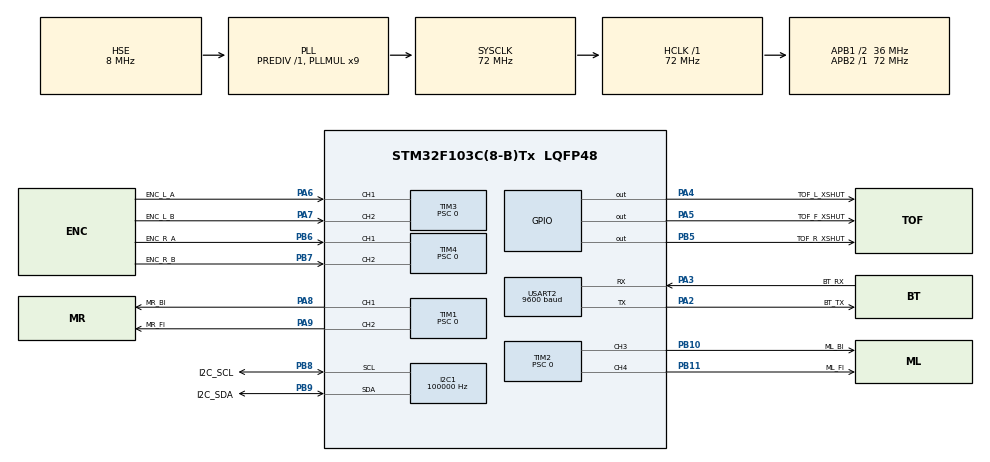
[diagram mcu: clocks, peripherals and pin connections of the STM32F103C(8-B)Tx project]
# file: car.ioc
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I2C1.ClockSpeed=100000
Mcu.Family=STM32F1
Mcu.Name=STM32F103C(8-B)Tx
Mcu.Package=LQFP48
NVIC.PriorityGroup=NVIC_PRIORITYGROUP_4
NVIC.TIM1_UP_IRQn=true\:1\:0\:false\:false\:true\:true\:true\:true
NVIC.USART2_IRQn=true\:2\:0\:false\:false\:true\:true\:true\:true
PA13.Mode=Serial_Wire
PA13.Signal=SYS_JTMS-SWDIO
PA14.Mode=Serial_Wire
PA14.Signal=SYS_JTCK-SWCLK
PA2.GPIO_Label=BT_TX
PA2.Mode=Asynchronous
PA2.Signal=USART2_TX
PA3.GPIO_Label=BT_RX
PA3.Mode=Asynchronous
PA3.Signal=USART2_RX
PA4.GPIO_Label=TOF_L_XSHUT
PA4.GPIO_ModeDefaultOutputPP=GPIO_MODE_OUTPUT_OD
PA4.GPIO_PuPd=GPIO_NOPULL
PA4.GPIO_Speed=GPIO_SPEED_FREQ_LOW
PA4.PinState=GPIO_PIN_RESET
PA4.Signal=GPIO_Output
PA5.GPIO_Label=TOF_F_XSHUT
PA5.GPIO_ModeDefaultOutputPP=GPIO_MODE_OUTPUT_OD
PA5.GPIO_PuPd=GPIO_NOPULL
PA5.GPIO_Speed=GPIO_SPEED_FREQ_LOW
PA5.PinState=GPIO_PIN_RESET
PA5.Signal=GPIO_Output
PA6.GPIO_Label=ENC_L_A
PA6.GPIO_PuPd=GPIO_PULLUP
PA6.Signal=S_TIM3_CH1
PA7.GPIO_Label=ENC_L_B
PA7.GPIO_PuPd=GPIO_PULLUP
PA7.Signal=S_TIM3_CH2
PA8.GPIO_Label=MR_BI
PA8.GPIO_Speed=GPIO_SPEED_FREQ_LOW
PA8.Signal=S_TIM1_CH1
PA9.GPIO_Label=MR_FI
PA9.GPIO_Speed=GPIO_SPEED_FREQ_LOW
PA9.Signal=S_TIM1_CH2
PB10.GPIO_Label=ML_BI
PB10.GPIO_Speed=GPIO_SPEED_FREQ_LOW
PB10.Signal=S_TIM2_CH3
PB11.GPIO_Label=ML_FI
PB11.GPIO_Speed=GPIO_SPEED_FREQ_LOW
PB11.Signal=S_TIM2_CH4
PB5.GPIO_Label=TOF_R_XSHUT
PB5.GPIO_ModeDefaultOutputPP=GPIO_MODE_OUTPUT_OD
PB5.GPIO_PuPd=GPIO_NOPULL
PB5.GPIO_Speed=GPIO_SPEED_FREQ_LOW
PB5.PinState=GPIO_PIN_RESET
PB5.Signal=GPIO_Output
PB6.GPIO_Label=ENC_R_A
PB6.GPIO_PuPd=GPIO_PULLUP
PB6.Signal=S_TIM4_CH1
PB7.GPIO_Label=ENC_R_B
PB7.GPIO_PuPd=GPIO_PULLUP
PB7.Signal=S_TIM4_CH2
PB8.GPIO_Label=I2C_SCL
PB8.Mode=I2C
PB8.Signal=I2C1_SCL
PB9.GPIO_Label=I2C_SDA
PB9.Mode=I2C
PB9.Signal=I2C1_SDA
PD0-OSC_IN.Mode=HSE-External-Oscillator
PD0-OSC_IN.Signal=RCC_OSC_IN
PD1-OSC_OUT.Mode=HSE-External-Oscillator
PD1-OSC_OUT.Signal=RCC_OSC_OUT
ProjectManager.HeapSize=0x200
ProjectManager.StackSize=0x400
ProjectManager.TargetToolchain=MDK-ARM V5.32
RCC.AHBFreq_Value=72000000
RCC.APB1CLKDivider=RCC_HCLK_DIV2
RCC.APB1Freq_Value=36000000
RCC.APB1TimFreq_Value=72000000
RCC.APB2Freq_Value=72000000
RCC.APB2TimFreq_Value=72000000
RCC.HCLKFreq_Value=72000000
RCC.PLLMUL=RCC_PLL_MUL9
RCC.PLLSourceVirtual=RCC_PLLSOURCE_HSE
RCC.SYSCLKFreq_VALUE=72000000
RCC.SYSCLKSource=RCC_SYSCLKSOURCE_PLLCLK
RCC.USBFreq_Value=72000000
SH.S_TIM1_CH1.0=TIM1_CH1,PWM Generation1 CH1
SH.S_TIM1_CH2.0=TIM1_CH2,PWM Generation2 CH2
SH.S_TIM2_CH3.0=TIM2_CH3,PWM Generation3 CH3
SH.S_TIM2_CH4.0=TIM2_CH4,PWM Generation4 CH4
SH.S_TIM3_CH1.0=TIM3_CH1,Encoder_Interface
SH.S_TIM3_CH2.0=TIM3_CH2,Encoder_Interface
SH.S_TIM4_CH1.0=TIM4_CH1,Encoder_Interface
SH.S_TIM4_CH2.0=TIM4_CH2,Encoder_Interface
TIM1.AutoReloadPreload=TIM_AUTORELOAD_PRELOAD_ENABLE
TIM1.Channel-PWM\ Generation1\ CH1=TIM_CHANNEL_1
TIM1.Channel-PWM\ Generation2\ CH2=TIM_CHANNEL_2
TIM1.Period=3599
TIM1.Prescaler=0
TIM1.Pulse-PWM\ Generation1\ CH1=0
TIM1.Pulse-PWM\ Generation2\ CH2=0
TIM1.RepetitionCounter=19
TIM2.AutoReloadPreload=TIM_AUTORELOAD_PRELOAD_ENABLE
TIM2.Channel-PWM\ Generation3\ CH3=TIM_CHANNEL_3
TIM2.Channel-PWM\ Generation4\ CH4=TIM_CHANNEL_4
TIM2.Period=3599
TIM2.Prescaler=0
TIM2.Pulse-PWM\ Generation3\ CH3=0
TIM2.Pulse-PWM\ Generation4\ CH4=0
TIM3.EncoderMode=TIM_ENCODERMODE_TI12
TIM3.IC1Filter=4
TIM3.IC2Filter=4
TIM3.Period=65535
TIM3.Prescaler=0
TIM4.EncoderMode=TIM_ENCODERMODE_TI12
TIM4.IC1Filter=4
TIM4.IC2Filter=4
TIM4.Period=65535
TIM4.Prescaler=0
USART2.BaudRate=9600
USART2.VirtualMode=VM_ASYNC
VP_TIM1_VS_ClockSourceINT.Mode=Internal
VP_TIM2_VS_ClockSourceINT.Mode=Internal
board=custom

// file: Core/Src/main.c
#include "main.h"
#include "i2c.h"
#include "tim.h"
#include "usart.h"
#include "gpio.h"

/* USER CODE BEGIN Includes */
#include "mpu6050.h"
#include "heading.h"
#include "motor.h"
#include "encoder.h"
#include "tof.h"
#include "speed_control.h"
#include "turn_control.h"
#include "maze.h"
#include "hc05.h"
#include "bluetooth_tune.h"
#include <stdio.h>
/* USER CODE END Includes */

/* USER CODE BEGIN PD */
/* 蓝牙调参模式优先，禁止旧的自动试转流程与电脑命令同时控制电机。 */
#ifndef BLUETOOTH_TUNE_ENABLE
#define BLUETOOTH_TUNE_ENABLE 1
#endif
/* 架空并确认编码器方向后才可开启试转；默认上电只采集，不驱动车轮。 */
#ifndef MOTOR_DEBUG_SPEED_ENABLE
#define MOTOR_DEBUG_SPEED_ENABLE 0
#endif
#define MOTOR_DEBUG_SPEED_COUNTS_PER_S 500.0f
#define MOTOR_DEBUG_SPEED_DURATION_MS 4000U
/* 200 ms 一帧，避免 9600 波特率下调试信息占满发送缓冲。
   当前仅观察航向积分，速度/MPU 诊断/轮程累计帧默认关闭，需要时再打开。 */
#ifndef SPEED_DEBUG_TELEMETRY_ENABLE
#define SPEED_DEBUG_TELEMETRY_ENABLE 0
#endif
#define SPEED_DEBUG_TELEMETRY_PERIOD_MS 200U
/* 航向积分调试帧：输出 z 轴航偏角，手持旋转或试车时观察积分与漂移。 */
#ifndef HEADING_DEBUG_TELEMETRY_ENABLE
#define HEADING_DEBUG_TELEMETRY_ENABLE 1
#endif
#define HEADING_DEBUG_TELEMETRY_PERIOD_MS 200U
/* MPU 上电诊断帧：暴露初始化/校准/读取结果和地址探测，定位 head 全零的原因。 */
#ifndef MPU_DEBUG_TELEMETRY_ENABLE
#define MPU_DEBUG_TELEMETRY_ENABLE 1
#endif
#define MPU_DEBUG_TELEMETRY_PERIOD_MS 1000U
/* 轮程累计帧开关与航向帧独立；蓝牙调参模式下默认不发送。 */
#ifndef ENCODER_TELEMETRY_ENABLE
#define ENCODER_TELEMETRY_ENABLE 0
#endif
/* 转向状态诊断帧：调试期观察转向状态机与目标收敛过程。 */
#ifndef TURN_DEBUG_TELEMETRY_ENABLE
#define TURN_DEBUG_TELEMETRY_ENABLE 1
#endif
#define TURN_DEBUG_TELEMETRY_PERIOD_MS 1000U
/* 迷宫探索诊断帧：状态机、三路距离与决策，实跑时观察感知与节奏。 */
#ifndef MAZE_DEBUG_TELEMETRY_ENABLE
#define MAZE_DEBUG_TELEMETRY_ENABLE 1
#endif
#define MAZE_DEBUG_TELEMETRY_PERIOD_MS 1000U
/* 三路测距实时帧：补偿值与原始值并列，用于偏移标定与读数核对。 */
#ifndef TOF_DEBUG_TELEMETRY_ENABLE
#define TOF_DEBUG_TELEMETRY_ENABLE 1
#endif
#define TOF_DEBUG_TELEMETRY_PERIOD_MS 1000U
/* USER CODE END PD */

/* USER CODE BEGIN PV */
volatile uint32_t timer_1ms_ticks = 0;
MPU6050_Gyro car_gyro = {0.0f, 0.0f, 0.0f};
HAL_StatusTypeDef mpu6050_status = HAL_ERROR;
/* 分别保存各阶段结果，避免统一的无效消息掩盖实际失败位置。 */
HAL_StatusTypeDef mpu6050_init_status = HAL_ERROR;
HAL_StatusTypeDef mpu6050_cal_status = HAL_ERROR;
HAL_StatusTypeDef mpu6050_read_status = HAL_ERROR;
uint32_t gyro_last_update_tick = 0;
uint8_t gyro_valid = 0;
/* 保存双轮增量、累计计数和计数率，供控制逻辑及调试器读取。 */
Encoder_Data car_encoder;
HAL_StatusTypeDef encoder_status = HAL_ERROR;
/* 保存三路测距快照和逐路状态；car_tof 保留前方兼容快照。 */
TOF_Data car_tof;
HAL_StatusTypeDef tof_status = HAL_ERROR;
TOF_Data car_tof_sensors[TOF_SENSOR_COUNT];
HAL_StatusTypeDef tof_sensor_status[TOF_SENSOR_COUNT];
/* 已按保存的轮端标定完成落地 50/75/100 mm/s 短试转，100 mm/s 复测两次。
   速度反馈仅 10 ms 计数率、遥测仅 5 Hz，不将本组视为最终最优参数。
   2026-10-27：占空比上限 700 提高到 850——7.4 V 电池下原地转向
   摩擦扭矩大，70% 输出带不动单轮（架空正常、落地不转），85% 实测
   左右 90 度转向恢复到位（误差约 2 度）。 */
static const SpeedControl_Config speed_config = {
  {0.8f, 1.5f, 0.0f}, {0.6f, 1.5f, 0.0f}, 2100.0f, 850
};
SpeedControl_Data car_speed;
HAL_StatusTypeDef speed_control_status = HAL_ERROR;
/* 陀螺仪闭环转向状态快照，供调试器与后续遥测观察。 */
TurnControl_Data car_turn;
HAL_StatusTypeDef turn_control_status = HAL_ERROR;
/* 左手法则迷宫探索状态快照。 */
Maze_Data car_maze;
HAL_StatusTypeDef maze_status = HAL_ERROR;
/* USER CODE END PV */

void SystemClock_Config(void);

/* USER CODE BEGIN 0 */
/* 可选一次性试转：获得有效反馈后启动，定时结束或故障后不自动重试。 */
static void Speed_DebugProcess(void)
{
#if MOTOR_DEBUG_SPEED_ENABLE && !BLUETOOTH_TUNE_ENABLE
  static uint8_t phase = 0U;
  static uint32_t started = 0U;
  HAL_StatusTypeDef status;
  if (phase == 0U)
  {
    status = SpeedControl_Enable();
    if (status == HAL_OK)
    {
      started = HAL_GetTick();
      status = SpeedControl_SetTarget(MOTOR_DEBUG_SPEED_COUNTS_PER_S,
                                     MOTOR_DEBUG_SPEED_COUNTS_PER_S);
      phase = (status == HAL_OK) ? 1U : 2U;
    }
    else if (status != HAL_BUSY)
    {
      phase = 2U;
    }
  }
  else if (phase == 1U)
  {
    (void)SpeedControl_GetData(&car_speed);
    if (car_speed.state == SPEED_CONTROL_FAULT)
    {
      /* 保留故障锁存供调试，不在此处清除或自动恢复。 */
      phase = 2U;
    }
    else if ((uint32_t)(HAL_GetTick() - started) >= MOTOR_DEBUG_SPEED_DURATION_MS)
    {
      SpeedControl_Stop();
      phase = 2U;
    }
  }
#endif
}

/* 发送整数 FireWater 帧；目标/实测取整为 counts/s，占空比单位千分比。
   只监测不驱动时也发布编码器实测，便于手转确认两轮方向。 */
static void Speed_DebugTelemetry(void)
{
#if SPEED_DEBUG_TELEMETRY_ENABLE
  static uint32_t last_tick = 0U;
  uint32_t now = HAL_GetTick();
  char frame[HC05_TX_BUFFER_SIZE];
  int length;
  if ((uint32_t)(now - last_tick) < SPEED_DEBUG_TELEMETRY_PERIOD_MS ||
      !BluetoothTune_CanSendTelemetry()) { return; }
  last_tick = now;
  length = snprintf(frame, sizeof(frame), "speed:%d,%d,%ld,%ld,%ld,%ld,%d,%d\n",
                    (int)car_speed.state, (int)car_speed.fault,
                    (long)car_speed.left_target, (long)car_speed.right_target,
                    (long)car_encoder.left_counts_per_s,
                    (long)car_encoder.right_counts_per_s,
                    (int)car_speed.left_duty, (int)car_speed.right_duty);
  /* 串口忙时丢弃该帧，不等待发送完成，不影响控制周期。 */
  if (length > 0 && (unsigned int)length < sizeof(frame))
  {
    (void)HC05_SendString(frame);
  }
#endif
}

/* 浮点值按两位小数格式化为十进制文本，返回写入字符数。
   串口帧不使用固件不支持的 %f 格式，改用整数运算拆分符号、整数与小数。 */
static int Heading_FormatFloat(char *buffer, unsigned int size, float value)
{
  long scaled = (long)(value * 100.0f + (value >= 0.0f ? 0.5f : -0.5f));
  const char *sign = (scaled < 0L) ? "-" : "";
  long magnitude = (scaled < 0L) ? -scaled : scaled;
  return snprintf(buffer, size, "%s%ld.%02ld", sign,
                  magnitude / 100L, magnitude % 100L);
}

/* 发送航向 FireWater 帧：数据有效、积分有效、z 轴积分角度（航偏角，度）。
   角度直接输出两位小数的真实值，串口工具无需换算即可绘图；
   发送失败不推进节拍，下一轮主循环重试。 */
static void Heading_DebugTelemetry(void)
{
#if HEADING_DEBUG_TELEMETRY_ENABLE
  static uint32_t last_tick = 0U;
  uint32_t now = HAL_GetTick();
  const Heading_Data *heading;
  char frame[HC05_TX_BUFFER_SIZE];
  int offset;
  if ((uint32_t)(now - last_tick) < HEADING_DEBUG_TELEMETRY_PERIOD_MS ||
      !BluetoothTune_CanSendTelemetry()) { return; }
  heading = Heading_GetData();
  offset = snprintf(frame, sizeof(frame), "head:%u,%u,",
                    (unsigned int)gyro_valid, (unsigned int)heading->valid);
  if (offset > 0 && (unsigned int)offset + 12U < sizeof(frame))
  {
    offset += Heading_FormatFloat(frame + (unsigned int)offset,
                                  sizeof(frame) - (unsigned int)offset,
                                  heading->z_deg);
    if ((unsigned int)offset + 1U < sizeof(frame))
    {
      frame[offset++] = '\n';
      frame[offset] = '\0';
      if (HC05_SendString(frame) == HAL_OK)
      {
        last_tick = now;
      }
    }
  }
#endif
}

/* 发送 MPU 上电诊断帧：初始化、零偏校准、最近读取结果和两个候选地址的身份探测。
   HAL 状态 0 成功、1 错误、2 忙、3 超时；读取持续为 2 表示数据就绪从不置位，
   身份字段非 0x68/0x70 表示总线应答的是不支持的其他芯片。 */
static void MPU_DebugTelemetry(void)
{
#if MPU_DEBUG_TELEMETRY_ENABLE
  static uint32_t last_tick = 0U;
  uint32_t now = HAL_GetTick();
  const MPU6050_ProbeInfo *probe;
  char frame[HC05_TX_BUFFER_SIZE];
  int length;
  if ((uint32_t)(now - last_tick) < MPU_DEBUG_TELEMETRY_PERIOD_MS ||
      !BluetoothTune_CanSendTelemetry()) { return; }
  probe = MPU6050_GetProbeInfo();
  length = snprintf(frame, sizeof(frame), "mpu:%d,%d,%d,%d,%u,%d,%u\n",
                    (int)mpu6050_init_status, (int)mpu6050_cal_status,
                    (int)mpu6050_read_status,
                    (int)probe->status[0], (unsigned int)probe->who_am_i[0],
                    (int)probe->status[1], (unsigned int)probe->who_am_i[1]);
  if (length > 0 && (unsigned int)length < sizeof(frame) &&
      HC05_SendString(frame) == HAL_OK)
  {
    last_tick = now;
  }
#endif
}

/* 发送转向状态诊断帧：状态机、目标、误差、差速请求与运行时长。
   状态 0 待机、1 运行、2 完成、3 故障；角度与速度放大 100 倍取整。 */
static void Turn_DebugTelemetry(void)
{
#if TURN_DEBUG_TELEMETRY_ENABLE
  static uint32_t last_tick = 0U;
  uint32_t now = HAL_GetTick();
  char frame[HC05_TX_BUFFER_SIZE];
  int length;
  if ((uint32_t)(now - last_tick) < TURN_DEBUG_TELEMETRY_PERIOD_MS ||
      !BluetoothTune_CanSendTelemetry()) { return; }
  length = snprintf(frame, sizeof(frame), "turn:%d,%ld,%ld,%ld,%lu\n",
                    (int)car_turn.state,
                    (long)(car_turn.target_deg * 100.0f +
                           (car_turn.target_deg >= 0.0f ? 0.5f : -0.5f)),
                    (long)(car_turn.error_deg * 100.0f +
                           (car_turn.error_deg >= 0.0f ? 0.5f : -0.5f)),
                    (long)(car_turn.speed_counts_per_s * 100.0f +
                           (car_turn.speed_counts_per_s >= 0.0f ? 0.5f : -0.5f)),
                    (unsigned long)car_turn.elapsed_ms);
  if (length > 0 && (unsigned int)length < sizeof(frame) &&
      HC05_SendString(frame) == HAL_OK)
  {
    last_tick = now;
  }
#endif
}

/* 发送迷宫探索诊断帧：状态、决策、三路距离、感知有效位、航向基准
   与节奏统计。状态 0 待机、1 决策、2 转向、3 直行、4 左口滑行、
   5 故障；决策 0 无、1 左、2 直、3 右、4 掉头；距离单位 mm，
   航向放大 100 倍。 */
static void Maze_DebugTelemetry(void)
{
#if MAZE_DEBUG_TELEMETRY_ENABLE
  static uint32_t last_tick = 0U;
  uint32_t now = HAL_GetTick();
  char frame[HC05_TX_BUFFER_SIZE];
  int length;
  if ((uint32_t)(now - last_tick) < MAZE_DEBUG_TELEMETRY_PERIOD_MS ||
      !BluetoothTune_CanSendTelemetry()) { return; }
  length = snprintf(frame, sizeof(frame), "maze:%d,%d,%u,%u,%u,%u,%ld,%lu,%lu,%u\n",
                    (int)car_maze.state, (int)car_maze.decision,
                    (unsigned int)car_maze.left_mm,
                    (unsigned int)car_maze.front_mm,
                    (unsigned int)car_maze.right_mm,
                    (unsigned int)car_maze.sensor_valid,
                    (long)(car_maze.heading_target_deg * 100.0f +
                           (car_maze.heading_target_deg >= 0.0f ? 0.5f : -0.5f)),
                    (unsigned long)car_maze.drive_elapsed_ms,
                    (unsigned long)car_maze.steps,
                    (unsigned int)car_maze.fault_reason);
  if (length > 0 && (unsigned int)length < sizeof(frame) &&
      HC05_SendString(frame) == HAL_OK)
  {
    last_tick = now;
  }
#endif
}

/* 发送三路测距实时帧：前/左/右各两个距离字段（补偿后、原始值），
   最后为有效位掩码（1 前、2 左、4 右）；距离单位 mm。
   原始值不做偏移补偿，供左右路标定与前方 -32mm 补偿核对。 */
static void TOF_DebugTelemetry(void)
{
#if TOF_DEBUG_TELEMETRY_ENABLE
  static uint32_t last_tick = 0U;
  uint32_t now = HAL_GetTick();
  char frame[HC05_TX_BUFFER_SIZE];
  int length;
  if ((uint32_t)(now - last_tick) < TOF_DEBUG_TELEMETRY_PERIOD_MS ||
      !BluetoothTune_CanSendTelemetry()) { return; }
  length = snprintf(frame, sizeof(frame), "tof:%u,%u,%u,%u,%u,%u,%u\n",
                    (unsigned int)car_tof_sensors[TOF_FRONT].distance_mm,
                    (unsigned int)car_tof_sensors[TOF_FRONT].raw_distance_mm,
                    (unsigned int)car_tof_sensors[TOF_LEFT].distance_mm,
                    (unsigned int)car_tof_sensors[TOF_LEFT].raw_distance_mm,
                    (unsigned int)car_tof_sensors[TOF_RIGHT].distance_mm,
                    (unsigned int)car_tof_sensors[TOF_RIGHT].raw_distance_mm,
                    (unsigned int)((car_tof_sensors[TOF_FRONT].valid != 0U ? 1U : 0U) |
                                    (car_tof_sensors[TOF_LEFT].valid != 0U ? 2U : 0U) |
                                    (car_tof_sensors[TOF_RIGHT].valid != 0U ? 4U : 0U)));
  if (length > 0 && (unsigned int)length < sizeof(frame) &&
      HC05_SendString(frame) == HAL_OK)
  {
    last_tick = now;
  }
#endif
}

/* 独立诊断帧按前、左、右输出状态/HAL状态/原始状态码，区分回波无效与掉线。
   忙时下轮再试，保留原 tof 七字段格式，避免影响已有串口工具。 */
static void TOF_StatusTelemetry(void)
{
#if TOF_DEBUG_TELEMETRY_ENABLE
  static uint32_t last_tick = 0U;
  uint32_t now = HAL_GetTick();
  char frame[HC05_TX_BUFFER_SIZE];
  int length;
  if ((uint32_t)(now - last_tick) < 1000U ||
      !BluetoothTune_CanSendTelemetry()) { return; }
  length = snprintf(frame, sizeof(frame), "tofdiag:%u,%u,%u,%u,%u,%u,%u,%u,%u\n",
    (unsigned int)car_tof_sensors[0].state, (unsigned int)tof_sensor_status[0],
    (unsigned int)car_tof_sensors[0].raw_status,
    (unsigned int)car_tof_sensors[1].state, (unsigned int)tof_sensor_status[1],
    (unsigned int)car_tof_sensors[1].raw_status,
    (unsigned int)car_tof_sensors[2].state, (unsigned int)tof_sensor_status[2],
    (unsigned int)car_tof_sensors[2].raw_status);
  if (length > 0 && (unsigned int)length < sizeof(frame) &&
      HC05_SendString(frame) == HAL_OK)
  {
    last_tick = now;
  }
#endif
}

/* 统一刷新三路测距快照，同时更新前方兼容变量。 */
static void TOF_RefreshSnapshots(void)
{
  unsigned int i;
  /* 每路有效性与错误独立保存，单路失效时仍可观察另外两路。 */
  for (i = 0U; i < TOF_SENSOR_COUNT; ++i)
  {
    (void)TOF_GetSensorData((TOF_Sensor)i, &car_tof_sensors[i]);
    tof_sensor_status[i] = TOF_GetSensorStatus((TOF_Sensor)i);
  }
  car_tof = car_tof_sensors[TOF_FRONT];
}

/* USER CODE END 0 */

/**
  * @brief  初始化小车外设和传感器，在主循环采集测距、陀螺仪和编码器数据。
  * @retval int
  */
int main(void)
{

  HAL_Init();
  SystemClock_Config();
  MX_GPIO_Init();
  MX_TIM1_Init();
  MX_TIM2_Init();
  MX_TIM3_Init();
  MX_TIM4_Init();
  MX_I2C1_Init();
  MX_USART2_UART_Init();

  /* USER CODE BEGIN 2 */
  /* 上电保持小车静止：先初始化陀螺仪，再采集约 1 秒的静止零偏。
     此时电机 PWM 尚未启动；失败时保留错误状态供调试器查看。 */
  mpu6050_init_status = MPU6050_Init();
  mpu6050_status = mpu6050_init_status;
  if (mpu6050_status == HAL_OK)
  {
    mpu6050_cal_status = MPU6050_CalibrateGyro(200U);
    mpu6050_status = mpu6050_cal_status;
    /* 零偏校准完成后角度从零开始；后续由串口命令 9 随时清零。 */
    if (mpu6050_status == HAL_OK)
    {
      Heading_Reset();
    }
  }
  /* 依次释放三路 XSHUT 并改址；单路失败仍继续采集其他路。 */
  tof_status = TOF_Init();
  TOF_RefreshSnapshots();

  __HAL_TIM_SET_COUNTER(&htim1, 0);
  __HAL_TIM_CLEAR_FLAG(&htim1, TIM_FLAG_UPDATE);
  if (HAL_TIM_Base_Start_IT(&htim1) != HAL_OK)
  {
    Error_Handler();
  }
  /* 初始化后保持电机禁用，等待控制逻辑显式使能。 */
  if (Motor_Init() != HAL_OK)
  {
    Error_Handler();
  }

  /* 编码器模块负责启动 TIM3/TIM4 并建立软件计数零点。 */
  encoder_status = Encoder_Init();
  if (encoder_status != HAL_OK)
  {
    Error_Handler();
  }
  speed_control_status = SpeedControl_Init(&speed_config);
  if (speed_control_status != HAL_OK)
  {
    Error_Handler();
  }
  turn_control_status = TurnControl_Init();
  if (turn_control_status != HAL_OK)
  {
    Error_Handler();
  }
  maze_status = Maze_Init();
  if (maze_status != HAL_OK)
  {
    Error_Handler();
  }
  /* 启动蓝牙接收，不自动使能电机；调参命令仅在主循环解析。 */
#if BLUETOOTH_TUNE_ENABLE
  if (BluetoothTune_Init() != HAL_OK) { Error_Handler(); }
#endif

  /* USER CODE END 2 */

  while (1)
  {
    /* USER CODE BEGIN 3 */
    /* 先检查上一轮耗时，防止长时间阻塞后继续使用旧占空比。 */
    speed_control_status = SpeedControl_Update();
#if BLUETOOTH_TUNE_ENABLE
    BluetoothTune_Process();
#endif
    /* 电机状态机与速度计算分离，持续服务启动等待和换向空档。 */
    Motor_Process();
    /* 主循环查询三路已完成的测量，不等待传感器完成一次激光测距。 */
    {
      HAL_StatusTypeDef update_status = TOF_Update();
      if (update_status != HAL_BUSY)
      {
        tof_status = update_status;
      }
      TOF_RefreshSnapshots();
    }
    /* I2C 返回后先检查旧反馈年龄，再采样，避免新时间戳掩盖超时。 */
    speed_control_status = SpeedControl_Update();
    {
      HAL_StatusTypeDef update_status = Encoder_Update();
      /* 只有到达采样周期才更新调试数据；无新采样时保留上一份快照。 */
      if (update_status != HAL_BUSY)
      {
        encoder_status = update_status;
        (void)Encoder_GetData(&car_encoder);
      }
    }
    /* 有新编码器采样才计算 PID，同一份数据不会重复积分。 */
    speed_control_status = SpeedControl_Update();
    {
      static uint32_t last_read_tick = 0;
      static uint32_t last_retry_tick = 0;
      static uint32_t busy_since_tick = 0;
      uint32_t now = HAL_GetTick();

      /* 每 5 ms 尝试读取一份新样本，阻塞式 I2C 始终在主循环执行。
         初始化或校准失败时不发布未经校准的角速度。 */
      if (mpu6050_status == HAL_OK && (uint32_t)(now - last_read_tick) >= 5U)
      {
        last_read_tick = now;
        mpu6050_read_status = MPU6050_ReadGyro(&car_gyro);
        if (mpu6050_read_status == HAL_OK)
        {
          gyro_last_update_tick = HAL_GetTick();
          gyro_valid = 1U;
          busy_since_tick = 0U;
          /* 新样本立即积分；时间戳取读取完成时刻，期间的主循环阻塞由真实 dt 体现。 */
          Heading_Update(&car_gyro, gyro_last_update_tick);
        }
        else if (mpu6050_read_status != HAL_BUSY)
        {
          /* 通信失败立即使数据失效；后续周期继续尝试读取。 */
          gyro_valid = 0U;
          busy_since_tick = 0U;
        }
        else if (busy_since_tick == 0U)
        {
          busy_since_tick = now;
        }
        else if ((uint32_t)(now - busy_since_tick) >= 1000U)
        {
          /* 持续 BUSY 说明数据就绪从不置位（芯片内部状态挂死），初始化
             成功后同样会发生；置失败态走下方重试路径，重新初始化自愈。 */
          busy_since_tick = 0U;
          gyro_valid = 0U;
          mpu6050_status = HAL_ERROR;
        }
      }
      /* 初始化或校准失败后周期性重试：电池上电瞬间的电源抖动可能让
         芯片卡在不应答地址的状态，电源稳定后的重新初始化通常可唤醒。
         校准含约 1 秒阻塞，仅在速度环待机且无转向时执行，避免运动
         控制被阻塞；重试成功后清旧数据并重建积分基准。 */
      else if (mpu6050_status != HAL_OK &&
               (uint32_t)(now - last_retry_tick) >= 2000U &&
               car_speed.state == SPEED_CONTROL_IDLE &&
               TurnControl_IsActive() == 0U)
      {
        last_retry_tick = now;
        mpu6050_init_status = MPU6050_Init();
        mpu6050_status = mpu6050_init_status;
        if (mpu6050_status == HAL_OK)
        {
          gyro_valid = 0U;
          mpu6050_cal_status = MPU6050_CalibrateGyro(200U);
          mpu6050_status = mpu6050_cal_status;
          if (mpu6050_status == HAL_OK)
          {
            Heading_Reset();
          }
        }
      }
    }
    /* 陀螺仪读取也可能阻塞，返回后先处理控制保护，再执行调试操作。 */
    speed_control_status = SpeedControl_Update();
    /* z 角度闭环转向：基于刚刷新的航偏角更新差速目标，含到位/超时保护。 */
    TurnControl_Process();
    (void)TurnControl_GetData(&car_turn);
    /* 左手法则迷宫探索状态机：感知决策、调度转向与直行段。 */
    Maze_Process();
    (void)Maze_GetData(&car_maze);
    Speed_DebugProcess();
#if BLUETOOTH_TUNE_ENABLE
    BluetoothTune_Process();
#endif
    (void)SpeedControl_GetData(&car_speed);
    /* 测距初始化可能阻塞，只在速度环待机、无寻路或转向任务时恢复故障路。
       寻路故障仍保持锁存，传感器恢复后也必须显式停止清障并重新启动。 */
    (void)TOF_Recover((uint8_t)(car_speed.state == SPEED_CONTROL_IDLE &&
                              Maze_IsActive() == 0U &&
                              TurnControl_IsActive() == 0U));
    Speed_DebugTelemetry();
    Heading_DebugTelemetry();
    MPU_DebugTelemetry();
    Turn_DebugTelemetry();
    Maze_DebugTelemetry();
    TOF_DebugTelemetry();
    TOF_StatusTelemetry();
#if BLUETOOTH_TUNE_ENABLE && ENCODER_TELEMETRY_ENABLE
    /* 累计计数与原速度帧分开传输，保留速度曲线的原有 200 ms 周期。 */
    BluetoothTune_EncoderTelemetry();
#endif

  }
  /* USER CODE END 3 */
}

/**
  * @brief 配置系统时钟，使主频达到 72 MHz。
  * @retval None
  */
void SystemClock_Config(void)
{
  RCC_OscInitTypeDef RCC_OscInitStruct = {0};
  RCC_ClkInitTypeDef RCC_ClkInitStruct = {0};

  RCC_OscInitStruct.OscillatorType = RCC_OSCILLATORTYPE_HSE;
  RCC_OscInitStruct.HSEState = RCC_HSE_ON;
  RCC_OscInitStruct.HSEPredivValue = RCC_HSE_PREDIV_DIV1;
  RCC_OscInitStruct.HSIState = RCC_HSI_ON;
  RCC_OscInitStruct.PLL.PLLState = RCC_PLL_ON;
  RCC_OscInitStruct.PLL.PLLSource = RCC_PLLSOURCE_HSE;
  RCC_OscInitStruct.PLL.PLLMUL = RCC_PLL_MUL9;
  if (HAL_RCC_OscConfig(&RCC_OscInitStruct) != HAL_OK)
  {
    Error_Handler();
  }

  RCC_ClkInitStruct.ClockType = RCC_CLOCKTYPE_HCLK|RCC_CLOCKTYPE_SYSCLK
                              |RCC_CLOCKTYPE_PCLK1|RCC_CLOCKTYPE_PCLK2;
  RCC_ClkInitStruct.SYSCLKSource = RCC_SYSCLKSOURCE_PLLCLK;
  RCC_ClkInitStruct.AHBCLKDivider = RCC_SYSCLK_DIV1;
  RCC_ClkInitStruct.APB1CLKDivider = RCC_HCLK_DIV2;
  RCC_ClkInitStruct.APB2CLKDivider = RCC_HCLK_DIV1;

  if (HAL_RCC_ClockConfig(&RCC_ClkInitStruct, FLASH_LATENCY_2) != HAL_OK)
  {
    Error_Handler();
  }
}

/* USER CODE BEGIN 4 */
/* TIM1 提供 1 ms 软件节拍；耗时的传感器读取和串口发送留在主循环。 */
void HAL_TIM_PeriodElapsedCallback(TIM_HandleTypeDef *htim)
{
  /* 只累计 TIM1 的更新事件，防止其他定时器改变该节拍。 */
  if (htim->Instance == TIM1)
  {
    timer_1ms_ticks++;

  }
}
/* USER CODE END 4 */

/**
  * @brief 发生初始化等致命错误时，先禁用电机，再停留等待调试。
  * @retval None
  */
void Error_Handler(void)
{
  /* USER CODE BEGIN Error_Handler_Debug */
  /* 尚未初始化时禁用接口为空操作；已经启动时清零输出并取消待执行命令。 */
  Motor_Disable();
  __disable_irq();
  while (1)
  {
  }
  /* USER CODE END Error_Handler_Debug */
}
